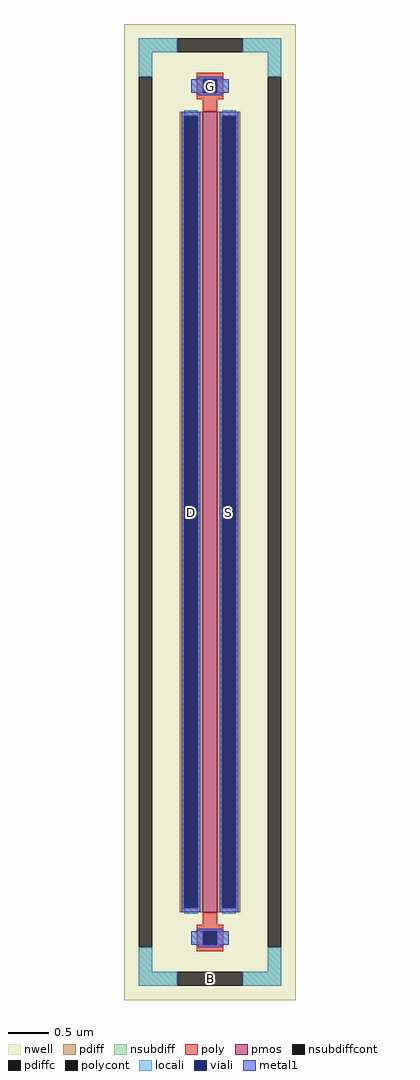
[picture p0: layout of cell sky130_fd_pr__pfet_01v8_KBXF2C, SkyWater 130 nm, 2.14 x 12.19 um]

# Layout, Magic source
magic
tech sky130A
magscale 1 2
<< nwell >>
rect -214 -1219 214 1219
<< pmos >>
rect -18 -1000 18 1000
<< pdiff >>
rect -76 988 -18 1000
rect -76 -988 -64 988
rect -30 -988 -18 988
rect -76 -1000 -18 -988
rect 18 988 76 1000
rect 18 -988 30 988
rect 64 -988 76 988
rect 18 -1000 76 -988
<< pdiffc >>
rect -64 -988 -30 988
rect 30 -988 64 988
<< nsubdiff >>
rect -178 1149 -82 1183
rect 82 1149 178 1183
rect -178 1087 -144 1149
rect 144 1087 178 1149
rect -178 -1149 -144 -1087
rect 144 -1149 178 -1087
rect -178 -1183 -82 -1149
rect 82 -1183 178 -1149
<< nsubdiffcont >>
rect -82 1149 82 1183
rect -178 -1087 -144 1087
rect 144 -1087 178 1087
rect -82 -1183 82 -1149
<< poly >>
rect -33 1081 33 1097
rect -33 1047 -17 1081
rect 17 1047 33 1081
rect -33 1031 33 1047
rect -18 1000 18 1031
rect -18 -1031 18 -1000
rect -33 -1047 33 -1031
rect -33 -1081 -17 -1047
rect 17 -1081 33 -1047
rect -33 -1097 33 -1081
<< polycont >>
rect -17 1047 17 1081
rect -17 -1081 17 -1047
<< locali >>
rect -178 1149 -82 1183
rect 82 1149 178 1183
rect -178 1087 -144 1149
rect 144 1087 178 1149
rect -47 1047 -17 1081
rect 17 1047 47 1081
rect -64 988 -30 1004
rect -64 -1004 -30 -988
rect 30 988 64 1004
rect 30 -1004 64 -988
rect -47 -1081 -17 -1047
rect 17 -1081 47 -1047
rect -178 -1149 -144 -1087
rect 144 -1149 178 -1087
rect -178 -1183 -82 -1149
rect 82 -1183 178 -1149
<< viali >>
rect -17 1047 17 1081
rect -64 -988 -30 988
rect 30 -988 64 988
rect -17 -1081 17 -1047
<< metal1 >>
rect -29 1081 29 1087
rect -47 1047 -17 1081
rect 17 1047 47 1081
rect -29 1041 29 1047
rect -70 988 -24 1000
rect -70 -988 -64 988
rect -30 -988 -24 988
rect -70 -1000 -24 -988
rect 24 988 70 1000
rect 24 -988 30 988
rect 64 -988 70 988
rect 24 -1000 70 -988
rect -29 -1047 29 -1041
rect -47 -1081 -17 -1047
rect 17 -1081 47 -1047
rect -29 -1087 29 -1081
<< labels >>
rlabel nsubdiffcont 0 -1166 0 -1166 0 B
port 1 nsew
rlabel pdiffc -47 0 -47 0 0 D
port 2 nsew
rlabel pdiffc 47 0 47 0 0 S
port 3 nsew
rlabel polycont 0 1064 0 1064 0 G
port 4 nsew
<< properties >>
string FIXED_BBOX -161 -1166 161 1166
string gencell sky130_fd_pr__pfet_01v8
string library sky130
string parameters w 10 l 0.18 m 1 nf 1 diffcov 100 polycov 100 guard 1 glc 1 grc 1 gtc 1 gbc 1 tbcov 100 rlcov 100 topc 1 botc 1 poverlap 0 doverlap 1 lmin 0.15 wmin 0.42 class mosfet compatible {sky130_fd_pr__pfet_01v8  sky130_fd_pr__pfet_01v8_lvt sky130_fd_pr__pfet_01v8_hvt  sky130_fd_pr__pfet_g5v0d10v5} full_metal 1 conn_gates 1 viasrc 100 viadrn 100 viagate 100 viagb 0 viagr 0 viagl 0 viagt 0 doports 1
<< end >>
